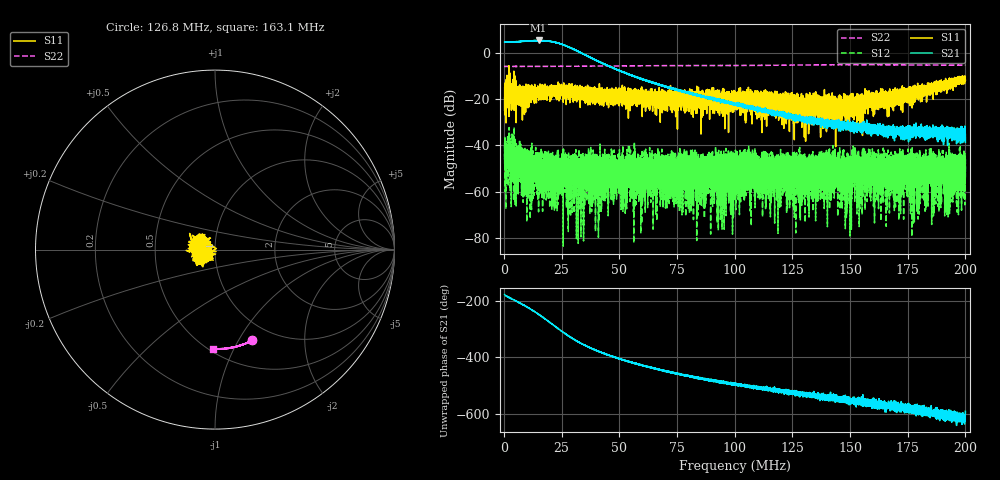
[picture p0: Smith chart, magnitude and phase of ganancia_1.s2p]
# Hz S DB R 50
! CMT, M5065, 19127446, 24.2.4/2
! Date: 11/8/2024 3:44:59 PM
! Data: Format (Calibration Info)
! Freq	S11:dB/Ang(F2)	S21:dB/Ang(F2)	S12:dB/Ang(F2)	S22:dB/Ang(F2)
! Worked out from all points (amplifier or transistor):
!   9000 points, 300 kHz to 200 MHz, reference 50 ohm
!   highest |S21| = 5.4 dB at 15.01 MHz (marker M1)
!   |S21| within 3 dB of that: start of sweep to 28.34 MHz (the widest 1 of 5)
!   unconditionally stable (mu >= 1): start of sweep to end of sweep
!   at 33.59 MHz: K = 130.58, MAG = 1.4 dB, |S12| = -51.1 dB
!   at 100.2 MHz: K = 1484.95, MAG = -20.4 dB, |S12| = -50.6 dB
!   at 200 MHz: K = 11083.34, MAG = -36.9 dB, |S12| = -51.8 dB
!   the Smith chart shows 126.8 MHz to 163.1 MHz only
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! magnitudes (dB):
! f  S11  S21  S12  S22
! 300 kHz  -24.7  4.7  -46.0  -5.8
! 1.964 MHz  -24.0  4.7  -48.3  -5.8
! 15.01 MHz  -17.4  5.4  -68.7  -5.8
! 33.59 MHz  -16.8  -0.1  -51.1  -5.7
! 35.78 MHz  -17.7  -1.2  -47.3  -5.7
! 38.89 MHz  -19.9  -2.8  -53.2  -5.7
! 43.73 MHz  -19.9  -5.0  -61.3  -5.7
! 52.58 MHz  -19.5  -8.7  -69.3  -5.6
! 55.84 MHz  -22.6  -10.0  -54.1  -5.6
! 59.44 MHz  -18.0  -11.1  -48.0  -5.6
! 60.77 MHz  -20.4  -11.7  -46.2  -5.6
! 66.87 MHz  -17.9  -13.6  -50.3  -5.5
! 100.2 MHz  -23.7  -21.9  -50.6  -5.4
! 133.4 MHz  -22.7  -29.3  -55.7  -5.2
! 143.6 MHz  -20.8  -30.8  -47.8  -5.1
! 147.6 MHz  -20.4  -31.7  -49.1  -5.1
! 151.9 MHz  -23.7  -31.9  -50.8  -5.1
! 154.8 MHz  -20.9  -32.5  -48.9  -5.1
! 157.1 MHz  -20.4  -31.8  -53.2  -5.1
! 166.7 MHz  -20.0  -33.4  -47.4  -5.1
! 199 MHz  -11.7  -34.5  -61.8  -5.3
! 200 MHz  -11.8  -38.7  -51.8  -5.3
